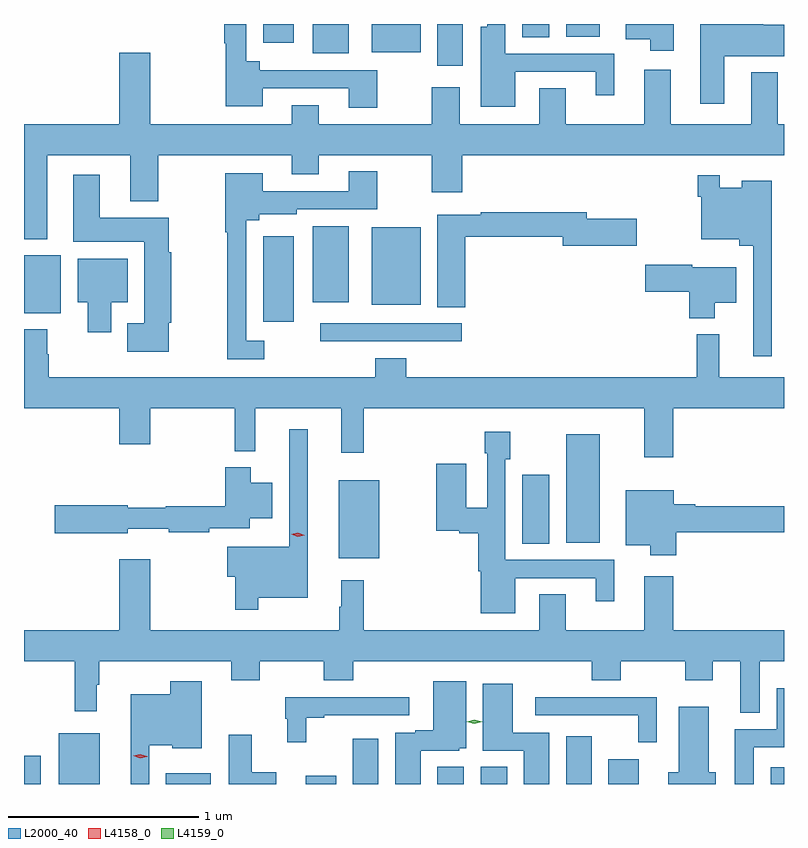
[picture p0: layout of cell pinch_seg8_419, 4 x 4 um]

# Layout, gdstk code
import gdstk
lib = gdstk.Library(unit=1e-6, precision=1e-09)
def R(c, l, rs):  # rectangles x0, y0, x1, y1
    for r in rs: c.add(gdstk.rectangle(r[:2], r[2:], *l))
def P(c, l, *ps):  # polygons
    for p in ps: c.add(gdstk.Polygon(p, *l))
L2000_40 = (2000, 40)
L4158_0 = (4158, 0)
L4159_0 = (4159, 0)

pinch_seg8_419 = lib.new_cell('pinch_seg8_419')
R(pinch_seg8_419, L2000_40, [(260.411,1139.831,260.5,1139.98), (260.594,1139.831,260.809,1140.097), (261.158,1139.831,261.394,1139.887), (261.893,1139.831,262.054,1139.875), (262.142,1139.831,262.276,1140.07), (262.586,1139.831,262.726,1139.921), (262.814,1139.831,262.954,1139.921), (263.264,1139.831,263.398,1140.082), (263.486,1139.831,263.647,1139.962), (264.341,1139.831,264.411,1139.92), (262.067,1141.019,262.282,1141.429), (263.033,1141.096,263.176,1141.459), (263.264,1141.1,263.44,1141.672), (261.969,1142.16,262.714,1142.256), (261.671,1142.265,261.832,1142.713), (260.411,1142.309,260.605,1142.614), (262.241,1142.354,262.498,1142.761), (261.932,1142.366,262.12,1142.767), (262.586,1143.612,262.72,1143.831), (261.932,1143.677,262.12,1143.831), (262.241,1143.683,262.498,1143.831), (261.671,1143.732,261.832,1143.831), (263.033,1143.76,263.176,1143.831), (263.264,1143.764,263.44,1143.831)])
P(pinch_seg8_419, L2000_40, [(262.996,1143.579),(263.42,1143.579),(263.42,1143.456),(263.518,1143.456),(263.518,1143.675),(262.944,1143.675),(262.944,1143.831),(262.848,1143.831),(262.848,1143.817),(262.814,1143.817),(262.814,1143.395),(262.996,1143.395)],
  [(262.269,1143.588),(261.652,1143.588),(261.652,1143.634),(261.582,1143.634),(261.582,1143.831),(261.466,1143.831),(261.466,1143.73),(261.474,1143.73),(261.474,1143.398),(261.667,1143.398),(261.667,1143.492),(262.121,1143.492),(262.121,1143.39),(262.269,1143.39)],
  [(263.83,1143.831),(263.579,1143.831),(263.579,1143.752),(263.708,1143.752),(263.708,1143.69),(263.83,1143.69)],
  [(264.097,1143.662),(264.411,1143.662),(264.411,1143.826),(264.301,1143.826),(264.301,1143.831),(263.969,1143.831),(263.969,1143.411),(264.097,1143.411)],
  [(260.533,1143.14),(260.969,1143.14),(260.969,1142.897),(261.117,1142.897),(261.117,1143.14),(261.821,1143.14),(261.821,1143.041),(261.961,1143.041),(261.961,1143.14),(262.558,1143.14),(262.558,1142.946),(262.718,1142.946),(262.718,1143.14),(264.411,1143.14),(264.411,1143.304),(264.379,1143.304),(264.379,1143.577),(264.239,1143.577),(264.239,1143.304),(263.815,1143.304),(263.815,1143.589),(263.675,1143.589),(263.675,1143.304),(263.263,1143.304),(263.263,1143.494),(263.123,1143.494),(263.123,1143.304),(262.705,1143.304),(262.705,1143.499),(262.558,1143.499),(262.558,1143.304),(261.961,1143.304),(261.961,1143.403),(261.821,1143.403),(261.821,1143.304),(261.076,1143.304),(261.076,1143.679),(260.912,1143.679),(260.912,1143.304),(260.411,1143.304),(260.411,1142.699),(260.533,1142.699)],
  [(261.676,1142.163),(261.582,1142.163),(261.582,1142.798),(261.648,1142.798),(261.648,1142.831),(261.846,1142.831),(261.846,1142.856),(262.269,1142.856),(262.269,1143.055),(262.121,1143.055),(262.121,1142.952),(261.667,1142.952),(261.667,1143.046),(261.47,1143.046),(261.47,1142.735),(261.481,1142.735),(261.481,1142.067),(261.676,1142.067)],
  [(261.174,1142.259),(261.187,1142.259),(261.187,1142.631),(261.174,1142.631),(261.174,1142.812),(260.809,1142.812),(260.809,1143.037),(260.669,1143.037),(260.669,1142.684),(261.044,1142.684),(261.044,1142.257),(260.954,1142.257),(260.954,1142.105),(261.174,1142.105)],
  [(264.346,1143.007),(264.188,1143.007),(264.188,1142.968),(264.072,1142.968),(264.072,1143.034),(263.956,1143.034),(263.956,1142.921),(263.976,1142.921),(263.976,1142.699),(264.176,1142.699),(264.176,1142.663),(264.249,1142.663),(264.249,1142.082),(264.346,1142.082)],
  [(262.733,1142.71),(263.246,1142.71),(263.246,1142.663),(263.635,1142.663),(263.635,1142.805),(263.374,1142.805),(263.374,1142.839),(262.816,1142.839),(262.816,1142.826),(262.586,1142.826),(262.586,1142.341),(262.733,1142.341)],
  [(260.869,1142.366),(260.956,1142.366),(260.956,1142.596),(260.693,1142.596),(260.693,1142.366),(260.747,1142.366),(260.747,1142.208),(260.869,1142.208)],
  [(264.046,1142.363),(264.16,1142.363),(264.16,1142.551),(263.928,1142.551),(263.928,1142.564),(263.682,1142.564),(263.682,1142.422),(263.912,1142.422),(263.912,1142.282),(264.046,1142.282)],
  [(262.424,1142.071),(262.259,1142.071),(262.259,1141.972),(260.541,1141.972),(260.541,1142.093),(260.533,1142.093),(260.533,1142.224),(260.411,1142.224),(260.411,1141.808),(260.912,1141.808),(260.912,1141.62),(261.076,1141.62),(261.076,1141.808),(261.519,1141.808),(261.519,1141.583),(261.629,1141.583),(261.629,1141.808),(262.082,1141.808),(262.082,1141.575),(262.199,1141.575),(262.199,1141.808),(263.675,1141.808),(263.675,1141.551),(263.828,1141.551),(263.828,1141.808),(264.411,1141.808),(264.411,1141.972),(264.071,1141.972),(264.071,1142.197),(263.953,1142.197),(263.953,1141.972),(262.424,1141.972)],
  [(261.643,1140.812),(261.904,1140.812),(261.904,1141.699),(261.807,1141.699),(261.807,1141.081),(261.48,1141.081),(261.48,1140.923),(261.522,1140.923),(261.522,1140.747),(261.643,1140.747)],
  [(262.996,1140.915),(263.42,1140.915),(263.42,1140.792),(263.518,1140.792),(263.518,1141.011),(262.944,1141.011),(262.944,1141.539),(262.971,1141.539),(262.971,1141.684),(262.836,1141.684),(262.836,1141.571),(262.848,1141.571),(262.848,1141.286),(262.738,1141.286),(262.738,1141.516),(262.58,1141.516),(262.58,1141.163),(262.701,1141.163),(262.701,1141.151),(262.802,1141.151),(262.802,1140.951),(262.814,1140.951),(262.814,1140.731),(262.996,1140.731)],
  [(260.958,1141.175),(261.172,1141.175),(261.172,1141.156),(261.386,1141.156),(261.386,1141.176),(261.598,1141.176),(261.598,1141.229),(261.718,1141.229),(261.718,1141.417),(261.604,1141.417),(261.604,1141.498),(261.47,1141.498),(261.47,1141.292),(261.158,1141.292),(261.158,1141.285),(260.958,1141.285),(260.958,1141.298),(260.574,1141.298),(260.574,1141.151),(260.958,1141.151)],
  [(263.843,1141.156),(264.411,1141.156),(264.411,1141.292),(263.944,1141.292),(263.944,1141.303),(263.83,1141.303),(263.83,1141.378),(263.579,1141.378),(263.579,1141.088),(263.708,1141.088),(263.708,1141.034),(263.843,1141.034)],
  [(264.283,1140.476),(264.411,1140.476),(264.411,1140.64),(263.828,1140.64),(263.828,1140.925),(263.675,1140.925),(263.675,1140.64),(263.263,1140.64),(263.263,1140.83),(263.123,1140.83),(263.123,1140.64),(262.199,1140.64),(262.199,1140.904),(262.082,1140.904),(262.082,1140.764),(262.071,1140.764),(262.071,1140.64),(261.076,1140.64),(261.076,1141.015),(260.912,1141.015),(260.912,1140.64),(260.411,1140.64),(260.411,1140.476),(260.677,1140.476),(260.677,1140.213),(260.794,1140.213),(260.794,1140.353),(260.806,1140.353),(260.806,1140.476),(261.503,1140.476),(261.503,1140.377),(261.651,1140.377),(261.651,1140.476),(261.988,1140.476),(261.988,1140.377),(262.143,1140.377),(262.143,1140.476),(263.398,1140.476),(263.398,1140.377),(263.553,1140.377),(263.553,1140.476),(263.89,1140.476),(263.89,1140.377),(264.037,1140.377),(264.037,1140.476),(264.182,1140.476),(264.182,1140.205),(264.283,1140.205)],
  [(261.069,1140.035),(261.192,1140.035),(261.192,1140.02),(261.346,1140.02),(261.346,1140.373),(261.181,1140.373),(261.181,1140.304),(260.972,1140.304),(260.972,1139.831),(261.069,1139.831)],
  [(262.498,1140.006),(262.701,1140.006),(262.701,1140.02),(262.738,1140.02),(262.738,1140.373),(262.565,1140.373),(262.565,1140.115),(262.469,1140.115),(262.469,1140.102),(262.364,1140.102),(262.364,1139.831),(262.498,1139.831)],
  [(263.176,1140.102),(262.984,1140.102),(262.984,1140.358),(262.826,1140.358),(262.826,1140.006),(263.042,1140.006),(263.042,1139.831),(263.176,1139.831)],
  [(264.253,1140.024),(264.411,1140.024),(264.411,1140.334),(264.372,1140.334),(264.372,1140.12),(264.152,1140.12),(264.152,1139.831),(264.253,1139.831)],
  [(261.897,1140.18),(261.991,1140.18),(261.991,1140.192),(262.438,1140.192),(262.438,1140.288),(261.786,1140.288),(261.786,1140.174),(261.797,1140.174),(261.797,1140.051),(261.897,1140.051)],
  [(263.742,1140.288),(263.103,1140.288),(263.103,1140.192),(263.644,1140.192),(263.644,1140.051),(263.742,1140.051)],
  [(264.052,1139.893),(264.016,1139.893),(264.016,1140.238),(263.858,1140.238),(263.858,1139.893),(263.801,1139.893),(263.801,1139.831),(264.052,1139.831)],
  [(261.739,1139.893),(261.61,1139.893),(261.61,1140.091),(261.488,1140.091),(261.488,1139.831),(261.739,1139.831)])
P(pinch_seg8_419, L4158_0, [(261.852,1141.133),(261.817,1141.145),(261.817,1141.145),(261.817,1141.146),(261.853,1141.153),(261.888,1141.141),(261.888,1141.141),(261.888,1141.141)],
  [(261.023,1139.967),(260.987,1139.979),(260.987,1139.979),(260.987,1139.979),(261.023,1139.987),(261.059,1139.976),(261.059,1139.976),(261.059,1139.975)])
P(pinch_seg8_419, L4159_0, [(262.782,1140.148),(262.742,1140.158),(262.742,1140.158),(262.742,1140.159),(262.782,1140.168),(262.822,1140.158),(262.822,1140.158),(262.822,1140.158)])

lib.write_gds('pinch_seg8_419.gds')
